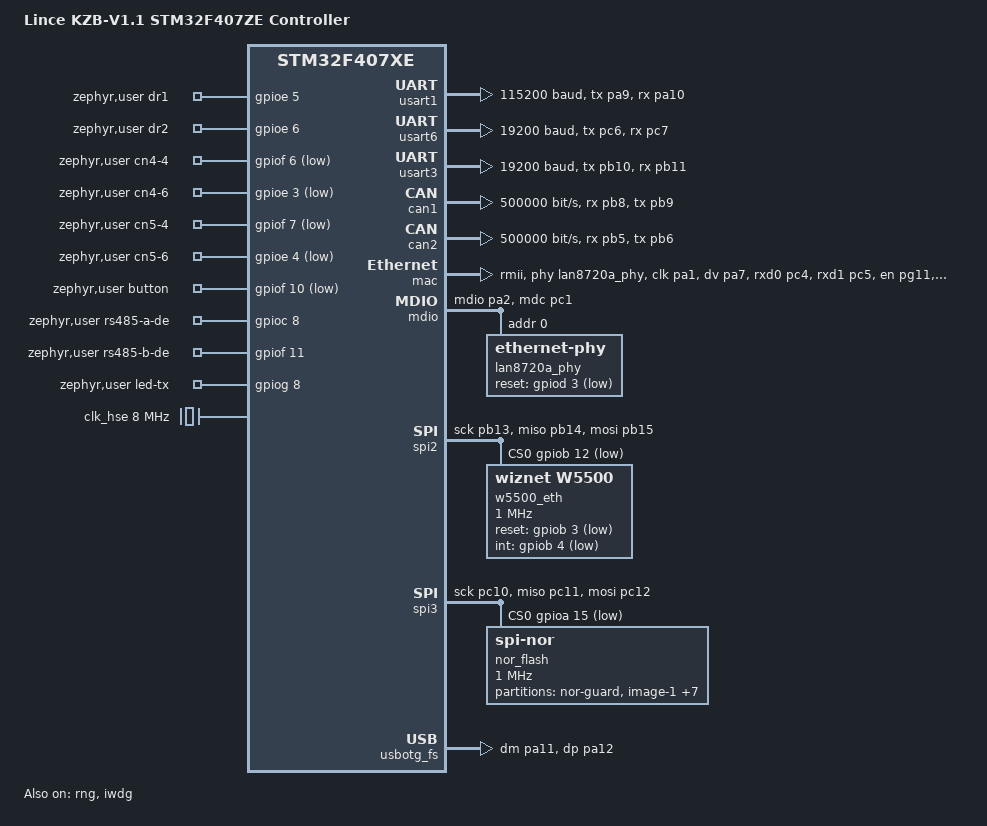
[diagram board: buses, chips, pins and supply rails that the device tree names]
/dts-v1/;
#include <st/f4/stm32f407Xe.dtsi>
#include <st/f4/stm32f407z(e-g)tx-pinctrl.dtsi>
#include <zephyr/dt-bindings/gpio/gpio.h>

/ {
	model = "Lince KZB-V1.1 STM32F407ZE Controller";
	compatible = "lince,kzb-f407";

	chosen {
		zephyr,console = &usart1;
		zephyr,sram = &sram0;
		zephyr,flash = &flash0;
		zephyr,dtcm = &ccm0;
	};

	aliases {
		watchdog0 = &iwdg;
	};

	zephyr,user {
		dr1-gpios = <&gpioe 5 GPIO_ACTIVE_HIGH>;
		dr2-gpios = <&gpioe 6 GPIO_ACTIVE_HIGH>;
		cn4-4-gpios = <&gpiof 6 GPIO_ACTIVE_LOW>;
		cn4-6-gpios = <&gpioe 3 GPIO_ACTIVE_LOW>;
		cn5-4-gpios = <&gpiof 7 GPIO_ACTIVE_LOW>;
		cn5-6-gpios = <&gpioe 4 GPIO_ACTIVE_LOW>;
		button-gpios = <&gpiof 10 GPIO_ACTIVE_LOW>;
		rs485-a-de-gpios = <&gpioc 8 GPIO_ACTIVE_HIGH>;
		rs485-b-de-gpios = <&gpiof 11 GPIO_ACTIVE_HIGH>;
		led-tx-gpios = <&gpiog 8 GPIO_ACTIVE_HIGH>;
	};
};

&clk_hse {
	clock-frequency = <DT_FREQ_M(8)>;
	hse-bypass;
	status = "okay";
};

&clk_lse {
	/* Bounded timeout probe in bsp_clock_sram.c enables LSEBYP and prevents boot hang if U21 faults. */
	status = "disabled";
};

&pll {
	div-m = <4>;
	mul-n = <168>;
	div-p = <2>;
	div-q = <7>;
	clocks = <&clk_hse>;
	status = "okay";
};

&rcc {
	clocks = <&pll>;
	clock-frequency = <DT_FREQ_M(168)>;
	ahb-prescaler = <1>;
	apb1-prescaler = <4>;
	apb2-prescaler = <2>;
};

/* D43: External U22 RTC is unused and battery-free; I2C3 stays permanently disabled. */
&i2c3 {
	status = "disabled";
};

&flash0 {
	partitions {
		compatible = "fixed-partitions";
		#address-cells = <1>;
		#size-cells = <1>;

		boot_partition: partition@0 {
			label = "mcuboot";
			reg = <0x00000000 0x00020000>;
		};

		slot0_partition: partition@20000 {
			label = "image-0";
			reg = <0x00020000 0x00060000>;
		};
	};
};

&usart1 {
	pinctrl-0 = <&usart1_tx_pa9 &usart1_rx_pa10>;
	pinctrl-names = "default";
	current-speed = <115200>;
	status = "okay";
};

&usart6 {
	pinctrl-0 = <&usart6_tx_pc6 &usart6_rx_pc7>;
	pinctrl-names = "default";
	current-speed = <19200>;
	status = "okay";
};

&usart3 {
	pinctrl-0 = <&usart3_tx_pb10 &usart3_rx_pb11>;
	pinctrl-names = "default";
	current-speed = <19200>;
	status = "okay";
};

&can1 {
	pinctrl-0 = <&can1_rx_pb8 &can1_tx_pb9>;
	pinctrl-names = "default";
	bitrate = <500000>;
	sample-point = <875>;
	status = "okay";
};

&can2 {
	pinctrl-0 = <&can2_rx_pb5 &can2_tx_pb6>;
	pinctrl-names = "default";
	bitrate = <500000>;
	sample-point = <875>;
	status = "okay";
};

&mac {
	status = "okay";
	phy-connection-type = "rmii";
	phy-handle = <&lan8720a_phy>;
	pinctrl-0 = <&eth_ref_clk_pa1 &eth_crs_dv_pa7 &eth_rxd0_pc4
		     &eth_rxd1_pc5 &eth_tx_en_pg11 &eth_txd0_pg13 &eth_txd1_pg14>;
	pinctrl-names = "default";
};

&mdio {
	status = "okay";
	pinctrl-0 = <&eth_mdio_pa2 &eth_mdc_pc1>;
	pinctrl-names = "default";

	lan8720a_phy: ethernet-phy@0 {
		compatible = "ethernet-phy";
		reg = <0>;
		reset-gpios = <&gpiod 3 GPIO_ACTIVE_LOW>;
	};
};

&spi2 {
	status = "okay";
	pinctrl-0 = <&spi2_sck_pb13 &spi2_miso_pb14 &spi2_mosi_pb15>;
	pinctrl-names = "default";
	cs-gpios = <&gpiob 12 GPIO_ACTIVE_LOW>;

	w5500_eth: ethernet@0 {
		compatible = "wiznet,w5500";
		reg = <0>;
		spi-max-frequency = <1000000>;
		zephyr,random-mac-address;
		reset-gpios = <&gpiob 3 GPIO_ACTIVE_LOW>;
		int-gpios = <&gpiob 4 GPIO_ACTIVE_LOW>;
	};
};

&spi3 {
	pinctrl-0 = <&spi3_sck_pc10 &spi3_miso_pc11 &spi3_mosi_pc12>;
	pinctrl-names = "default";
	cs-gpios = <&gpioa 15 GPIO_ACTIVE_LOW>;
	status = "okay";

	nor_flash: flash@0 {
		compatible = "jedec,spi-nor";
		reg = <0>;
		jedec-id = [ef 40 21];
		size = <0x40000000>;
		use-4b-addr-opcodes;
		spi-max-frequency = <1000000>;

		partitions {
			compatible = "fixed-partitions";
			#address-cells = <1>;
			#size-cells = <1>;

			/* First 1 MiB preserved untouched for factory/probe protection. */
			nor_reserved_guard: partition@0 {
				label = "nor-guard";
				reg = <0x00000000 0x00100000>;
			};

			slot1_partition: partition@100000 {
				label = "image-1";
				reg = <0x00100000 0x00060000>;
			};

			scratch_partition: partition@160000 {
				label = "image-scratch";
				reg = <0x00160000 0x00020000>;
			};

			identity_partition: partition@180000 {
				label = "identity";
				reg = <0x00180000 0x00010000>;
			};

			config_a_partition: partition@190000 {
				label = "config-a";
				reg = <0x00190000 0x00020000>;
			};

			config_b_partition: partition@1B0000 {
				label = "config-b";
				reg = <0x001B0000 0x00020000>;
			};

			action_journal_partition: partition@1D0000 {
				label = "action-journal";
				reg = <0x001D0000 0x00020000>;
			};

			diag_log_partition: partition@200000 {
				label = "diag-log";
				reg = <0x00200000 0x00DF0000>;
			};

			nor_boundary_test_partition: partition@FFF000 {
				label = "nor-boundary";
				reg = <0x00FFF000 0x00002000>;
			};
		};
	};
};

&usbotg_fs {
	status = "okay";
	pinctrl-0 = <&usb_otg_fs_dm_pa11 &usb_otg_fs_dp_pa12>;
	pinctrl-names = "default";
};

&rng {
	status = "okay";
};

&iwdg {
	status = "okay";
};
